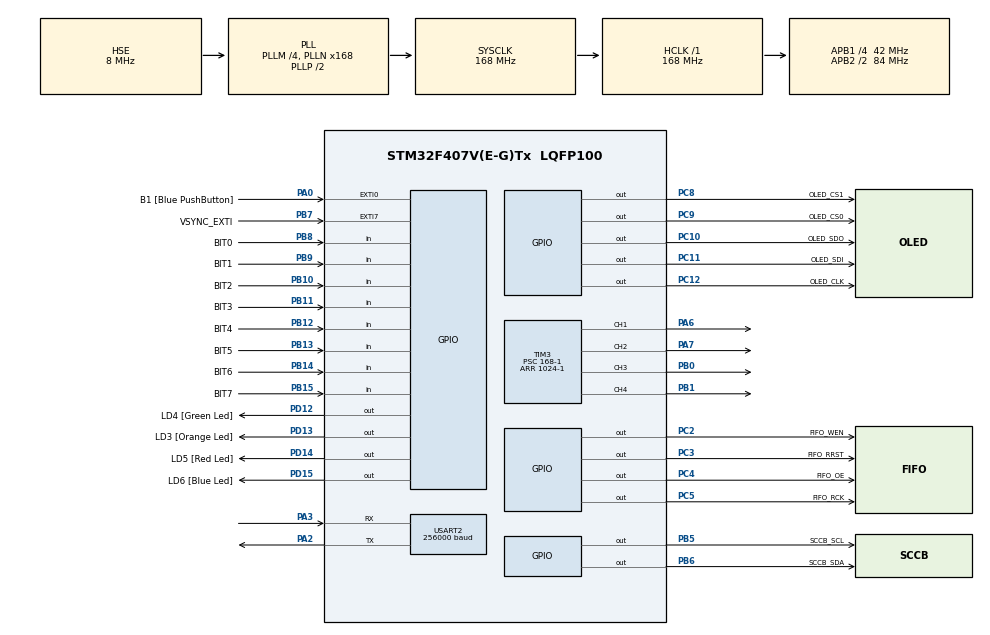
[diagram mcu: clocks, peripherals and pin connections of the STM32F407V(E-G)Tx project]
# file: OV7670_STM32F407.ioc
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Mcu.Family=STM32F4
Mcu.Name=STM32F407V(E-G)Tx
Mcu.Package=LQFP100
NVIC.EXTI0_IRQn=true\:0\:0\:false\:false\:true\:true\:true
NVIC.EXTI9_5_IRQn=true\:0\:1\:true\:false\:true\:true\:true
NVIC.PriorityGroup=NVIC_PRIORITYGROUP_0
PA0-WKUP.GPIO_Label=B1 [Blue PushButton]
PA0-WKUP.GPIO_ModeDefaultEXTI=GPIO_MODE_IT_FALLING
PA0-WKUP.GPIO_PuPd=GPIO_NOPULL
PA0-WKUP.Signal=GPXTI0
PA13.Mode=Serial_Wire
PA13.Signal=SYS_JTMS-SWDIO
PA14.Mode=Serial_Wire
PA14.Signal=SYS_JTCK-SWCLK
PA2.Mode=Asynchronous
PA2.Signal=USART2_TX
PA3.Mode=Asynchronous
PA3.Signal=USART2_RX
PA6.Signal=S_TIM3_CH1
PA7.Signal=S_TIM3_CH2
PB0.Signal=S_TIM3_CH3
PB1.Signal=S_TIM3_CH4
PB10.GPIO_Label=BIT2
PB10.Signal=GPIO_Input
PB11.GPIO_Label=BIT3
PB11.Signal=GPIO_Input
PB12.GPIO_Label=BIT4
PB12.Signal=GPIO_Input
PB13.GPIO_Label=BIT5
PB13.Signal=GPIO_Input
PB14.GPIO_Label=BIT6
PB14.Signal=GPIO_Input
PB15.GPIO_Label=BIT7
PB15.Signal=GPIO_Input
PB5.GPIO_Label=SCCB_SCL
PB5.GPIO_ModeDefaultOutputPP=GPIO_MODE_OUTPUT_OD
PB5.GPIO_PuPd=GPIO_PULLUP
PB5.PinState=GPIO_PIN_SET
PB5.Signal=GPIO_Output
PB6.GPIO_Label=SCCB_SDA
PB6.GPIO_ModeDefaultOutputPP=GPIO_MODE_OUTPUT_OD
PB6.GPIO_PuPd=GPIO_PULLUP
PB6.PinState=GPIO_PIN_SET
PB6.Signal=GPIO_Output
PB7.GPIO_Label=VSYNC_EXTI
PB7.GPIO_ModeDefaultEXTI=GPIO_MODE_IT_FALLING
PB7.Signal=GPXTI7
PB8.GPIO_Label=BIT0
PB8.Signal=GPIO_Input
PB9.GPIO_Label=BIT1
PB9.Signal=GPIO_Input
PC10.GPIO_Label=OLED_SDO
PC10.Signal=GPIO_Output
PC11.GPIO_Label=OLED_SDI
PC11.Signal=GPIO_Output
PC12.GPIO_Label=OLED_CLK
PC12.Signal=GPIO_Output
PC14-OSC32_IN.GPIO_Label=PC14-OSC32_IN
PC14-OSC32_IN.Mode=LSE-External-Oscillator
PC14-OSC32_IN.Signal=RCC_OSC32_IN
PC15-OSC32_OUT.GPIO_Label=PC15-OSC32_OUT
PC15-OSC32_OUT.Mode=LSE-External-Oscillator
PC15-OSC32_OUT.Signal=RCC_OSC32_OUT
PC2.GPIO_Label=FIFO_WEN
PC2.GPIO_Speed=GPIO_SPEED_FREQ_HIGH
PC2.Signal=GPIO_Output
PC3.GPIO_Label=FIFO_RRST
PC3.GPIO_Speed=GPIO_SPEED_FREQ_HIGH
PC3.Signal=GPIO_Output
PC4.GPIO_Label=FIFO_OE
PC4.GPIO_Speed=GPIO_SPEED_FREQ_HIGH
PC4.Signal=GPIO_Output
PC5.GPIO_Label=FIFO_RCK
PC5.GPIO_Speed=GPIO_SPEED_FREQ_HIGH
PC5.Signal=GPIO_Output
PC8.GPIO_Label=OLED_CS1
PC8.Signal=GPIO_Output
PC9.GPIO_Label=OLED_CS0
PC9.Signal=GPIO_Output
PD12.GPIO_Label=LD4 [Green Led]
PD12.GPIO_PuPd=GPIO_NOPULL
PD12.GPIO_Speed=GPIO_SPEED_FREQ_LOW
PD12.Signal=GPIO_Output
PD13.GPIO_Label=LD3 [Orange Led]
PD13.GPIO_PuPd=GPIO_NOPULL
PD13.GPIO_Speed=GPIO_SPEED_FREQ_LOW
PD13.Signal=GPIO_Output
PD14.GPIO_Label=LD5 [Red Led]
PD14.GPIO_PuPd=GPIO_NOPULL
PD14.GPIO_Speed=GPIO_SPEED_FREQ_LOW
PD14.Signal=GPIO_Output
PD15.GPIO_Label=LD6 [Blue Led]
PD15.GPIO_PuPd=GPIO_NOPULL
PD15.GPIO_Speed=GPIO_SPEED_FREQ_LOW
PD15.Signal=GPIO_Output
PH0-OSC_IN.GPIO_Label=PH0-OSC_IN
PH0-OSC_IN.Mode=HSE-External-Oscillator
PH0-OSC_IN.Signal=RCC_OSC_IN
PH1-OSC_OUT.GPIO_Label=PH1-OSC_OUT
PH1-OSC_OUT.Mode=HSE-External-Oscillator
PH1-OSC_OUT.Signal=RCC_OSC_OUT
ProjectManager.HeapSize=0x200
ProjectManager.StackSize=0x400
ProjectManager.TargetToolchain=TrueSTUDIO
RCC.48MHZClocksFreq_Value=48000000
RCC.AHBFreq_Value=168000000
RCC.APB1CLKDivider=RCC_HCLK_DIV4
RCC.APB1Freq_Value=42000000
RCC.APB1TimFreq_Value=84000000
RCC.APB2CLKDivider=RCC_HCLK_DIV2
RCC.APB2Freq_Value=84000000
RCC.APB2TimFreq_Value=168000000
RCC.CortexFreq_Value=168000000
RCC.HCLKFreq_Value=168000000
RCC.HSE_VALUE=8000000
RCC.HSI_VALUE=16000000
RCC.PLLM=4
RCC.PLLN=168
RCC.PLLQ=7
RCC.PLLSourceVirtual=RCC_PLLSOURCE_HSE
RCC.SYSCLKFreq_VALUE=168000000
RCC.SYSCLKSource=RCC_SYSCLKSOURCE_PLLCLK
RCC.VCOOutputFreq_Value=336000000
SH.S_TIM3_CH1.0=TIM3_CH1,PWM Generation1 CH1
SH.S_TIM3_CH2.0=TIM3_CH2,PWM Generation2 CH2
SH.S_TIM3_CH3.0=TIM3_CH3,PWM Generation3 CH3
SH.S_TIM3_CH4.0=TIM3_CH4,PWM Generation4 CH4
TIM3.Channel-PWM\ Generation1\ CH1=TIM_CHANNEL_1
TIM3.Channel-PWM\ Generation2\ CH2=TIM_CHANNEL_2
TIM3.Channel-PWM\ Generation3\ CH3=TIM_CHANNEL_3
TIM3.Channel-PWM\ Generation4\ CH4=TIM_CHANNEL_4
TIM3.Period=1024-1
TIM3.Prescaler=168-1
USART2.BaudRate=256000
USART2.VirtualMode=VM_ASYNC
VP_TIM3_VS_ClockSourceINT.Mode=Internal
board=STM32F407G-DISC1

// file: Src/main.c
/* USER CODE BEGIN Header */
/**
 ******************************************************************************
 * @file           : main.c
 * @brief          : Main program body
 ******************************************************************************
 * @attention
 *
 * <h2><center>&copy; Copyright (c) 2019 STMicroelectronics.
 * All rights reserved.</center></h2>
 *
 * This software component is licensed by ST under Ultimate Liberty license
 * SLA0044, the "License"; You may not use this file except in compliance with
 * the License. You may obtain a copy of the License at:
 *                             www.st.com/SLA0044
 *
 ******************************************************************************
 */
/* USER CODE END Header */

#include "main.h"
#include "tim.h"
#include "usart.h"
#include "gpio.h"

/* USER CODE BEGIN Includes */
#include "sensor.h"
#include "delay.h"
#include "print.h"
#include "oled.h"
#include "ips.h"
#include "pid.h"
#include <stdio.h>
#include <string.h>
/* USER CODE END Includes */

/* USER CODE BEGIN PD */
#ifdef QVGA
#define H  240
#define W  320
#elif defined QQVGA
#define H  120
#define W  160
#elif defined CIF
#define H  288
#define W  352
#elif defined QCIF
#define H  144
#define W  176
#endif

//#define SERIAL_PRINT
#define OLED_PRINT

/* USER CODE END PD */

/* USER CODE BEGIN PV */
unsigned char Vsync;
unsigned char send_flag = 0;

//extern
unsigned char image_ori[IMAGE_SIZE][IMAGE_SIZE] = {0};
unsigned char image_bin[IMAGE_SIZE][IMAGE_SIZE] = {0};
unsigned char line_flag_list[IMAGE_SIZE];
unsigned char line_pos_list[IMAGE_SIZE];
unsigned char graph_value[8] = {0};

char str[] = "0x0000";
unsigned char hex_display[] = "00, ";
/* USER CODE END PV */

void SystemClock_Config(void);
/* USER CODE BEGIN PFP */

void OV7670_SendFrameFullSize(void)
{
  unsigned int a, b, c_data;

  for (a = 0; a < H; a++)
  { // rows
    for (b = 0; b < W; b++)
    { // columns
      FIFO_RCK_L();
      asm("NOP");
      asm("NOP");
      c_data = GPIOB->IDR & 0xff00;  // read high-8 bits
      FIFO_RCK_H();
      asm("NOP");
      asm("NOP");
      FIFO_RCK_L();
      asm("NOP");
      asm("NOP");
      c_data |= (GPIOB->IDR >> 8) & 0x00ff;  // read low-8 bits
      FIFO_RCK_H();
      // LCD_WriteRAM(c_data);  // write RGB565 data to TFT GRAM
      sprintf(str, "%x,", c_data);
      HAL_UART_Transmit(&huart2, (uint8_t *) str, strlen(str), 10);
    }
    HAL_GPIO_TogglePin(LD6_GPIO_Port, LD6_Pin);
  }
  print_str("\n", 0);
}

void OV7670_SendFrameSliced_QQVGA_28_28()
{
  unsigned int a, b, c_data;

  for (a = 0; a < H; a++)
  {  // rows
    for (b = 0; b < W; b++)
    {  // columns
      FIFO_RCK_L();
      asm("NOP");
      asm("NOP");
      c_data = GPIOB->IDR & 0xff00;        // read high-8 bits
      FIFO_RCK_H();
      asm("NOP");
      asm("NOP");
      FIFO_RCK_L();
      asm("NOP");
      asm("NOP");
      c_data |= (GPIOB->IDR >> 8) & 0x00ff;  // read low-8 bits
      FIFO_RCK_H();
//      LCD_WriteRAM(c_data);         // write RGB565 data to TFT GRAM
//      if((a<output_h)&&(b<output_w))
      if ((a >= 4) && (a <= 112) && ((a - 4) % 4 == 0) && (b >= 34)
          && (b <= 142) && ((b - 34) % 4 == 0))
      {  // select 28*28 pixels
        sprintf(str, "%x,", c_data);
        HAL_UART_Transmit(&huart2, (uint8_t *) str, strlen(str), 10);
      }
    }
    HAL_GPIO_TogglePin(LD6_GPIO_Port, LD6_Pin);
  }
  print_str("\n", 0);
}

void OV7670_StoreFrameSliced_QQVGA_28_28(uint8_t binarize)
{
  unsigned int a, b, c_data;
  unsigned int i = 0, j = 0;

  for (a = 0; a < H; a++)
  {  // rows
    for (b = 0; b < W; b++)
    {  // columns
      FIFO_RCK_L();
      asm("NOP");
      asm("NOP");
      c_data = GPIOB->IDR & 0xff00;        // read high-8 bits
      FIFO_RCK_H();
      asm("NOP");
      asm("NOP");
      FIFO_RCK_L();
      asm("NOP");
      asm("NOP");
      FIFO_RCK_H();
      if ((a >= 4) && (a <= 112) && ((a - 4) % 4 == 0) && (b >= 34)
          && (b <= 142) && ((b - 34) % 4 == 0))
      {  // select 28*28 pixels
        c_data = (c_data >> 8) & 0x00ff;

        if (binarize)
        {
          if (c_data > THRESHOLD)
          {
            image_bin[i][j] = 1;
          }
          else
          {
            image_bin[i][j] = 0;
          }
          image_ori[i][j] = 0;  // Not used
        }
        image_ori[i][j] = c_data;
        j++;
        if (j == IMAGE_SIZE)
        {
          j = 0;
          i++;
        }
      }
    }
    HAL_GPIO_TogglePin(LD6_GPIO_Port, LD6_Pin);
  }
}

// calc_offset[-1, 1]
float calc_offset(unsigned char *line_flag_list, unsigned char *line_pos_list)
{
  unsigned int i;
  int width = IMAGE_SIZE / 2;
  float tmp;
  for (i = 0; i < IMAGE_SIZE; i++)
  {  // row
    if (line_flag_list[i])
    {
      width = IMAGE_SIZE / 2 - line_pos_list[i];
      break;
    }
  }
  tmp = width / (IMAGE_SIZE / 2.0);

  return tmp;
}

// calc_direction[-1, 1]
float calc_direction(unsigned char *line_flag_list,
    unsigned char *line_pos_list)
{
  unsigned int i;
  int height = IMAGE_SIZE / 2, width = IMAGE_SIZE / 2;
  float tmp, angle;
  for (i = 0; i < IMAGE_SIZE; i++)
  {  // row
    if (line_flag_list[i])
    {
      height = IMAGE_SIZE - i;
      width = IMAGE_SIZE / 2 - line_pos_list[i];
      break;
    }
  }
  tmp = width / (height * 1.0);
  /*
   * arctan x = x - x^3/3 + x^5/5 -鈥︹��(x鈮�1)
   * */
  angle = tmp - tmp * tmp * tmp / 3 + tmp * tmp * tmp * tmp * tmp / 5; // Tylor of arctan()

  return 2.0 * angle / 3.141592653;
}

void control_motor(int base_pwm, int diff_pwm)
{
  int left  = 0;
  int right = 0;

  left  = base_pwm - diff_pwm;
#ifdef SERIAL_PRINT
  print_str("left:", 1);
  print_int(left, 1);
#endif
#ifdef OLED_PRINT
  OLED_DispStr(0, 2, (uint8_t*) "left pwm:", FONT_8X6);
  sprintf(str, "%d", left);
  OLED_DispStr(0, 3, (uint8_t*) str, FONT_8X6);
#endif
  if(left >= 0)
  {
    if(left > 512)
    {left = 512;}
    __HAL_TIM_SET_COMPARE(&htim3, TIM_CHANNEL_1, left);
    __HAL_TIM_SET_COMPARE(&htim3, TIM_CHANNEL_2, 0);
  }
  else
  {
    if(left < -512)
    {left = -512;}
    __HAL_TIM_SET_COMPARE(&htim3, TIM_CHANNEL_1, 0);
    __HAL_TIM_SET_COMPARE(&htim3, TIM_CHANNEL_2, -left);
  }

  right = base_pwm + diff_pwm;
#ifdef SERIAL_PRINT
  print_str("right:", 1);
  print_int(right, 1);
#endif
#ifdef OLED_PRINT
  OLED_DispStr(0, 4, (uint8_t*) "right pwm:", FONT_8X6);
  sprintf(str, "%d", right);
  OLED_DispStr(0, 5, (uint8_t*) str, FONT_8X6);
#endif

  if(right >= 0)
  {
    if(right > 512)
    {right = 512;}
    __HAL_TIM_SET_COMPARE(&htim3, TIM_CHANNEL_3, right);
    __HAL_TIM_SET_COMPARE(&htim3, TIM_CHANNEL_4, 0);
  }
  else
  {
    if(right < -512)
    {right = -512;}
    __HAL_TIM_SET_COMPARE(&htim3, TIM_CHANNEL_3, 0);
    __HAL_TIM_SET_COMPARE(&htim3, TIM_CHANNEL_4, -right);
  }
}
/* USER CODE END PFP */

int main(void)
{
  /* USER CODE BEGIN 1 */
//  unsigned int time_out = 0;
#ifdef SERIAL_PRINT
  unsigned char bmp[IMAGE_SIZE] = {0x01};
#endif
  float offset=0, direction=0.0;
  float control_value = 0.0;
  int base_pwm = 0;
  int diff_pwm = 0;

//  unsigned int pwm_value=0;
  /* USER CODE END 1 */

  /* MCU Configuration--------------------------------------------------------*/

  /* Reset of all peripherals, Initializes the Flash interface and the Systick. */
  HAL_Init();

  /* Configure the system clock */
  SystemClock_Config();

  /* Initialize all configured peripherals */
  MX_GPIO_Init();
  MX_USART2_UART_Init();
  MX_TIM3_Init();
  /* USER CODE BEGIN 2 */
  HAL_TIM_PWM_Start(&htim3, TIM_CHANNEL_1);
  HAL_TIM_PWM_Start(&htim3, TIM_CHANNEL_2);
  HAL_TIM_PWM_Start(&htim3, TIM_CHANNEL_3);
  HAL_TIM_PWM_Start(&htim3, TIM_CHANNEL_4);
  OLED_Init();

  print_str("ov7670 init...", 1);

  FIFO_OE_L();
  FIFO_WEN_H();

  send_flag = 0;

  while (1 != Sensor_init())
  {
  }  // Init CMOS Sensor
  print_str("ov7670 init OK!", 1);

  Vsync = 0;
  ////////////////////////////////////////
  FIFO_RRST_L();
  FIFO_RCK_L();
  FIFO_RCK_H();
  FIFO_RCK_L();
  FIFO_RRST_H();
  FIFO_RCK_H();
  Delay(50);
  ////////////////////////////////////////
  PID_init();
  print_str("init PID", 1);
  /* USER CODE END 2 */

  /* Infinite loop */
  while (1)
  {

    /* USER CODE BEGIN 3 */
    OLED_Clear();

    if (send_flag == 1)
    {
#ifdef DEBUG
      OV7670_SendOneFrame_ColorBar();
#else
//      Vsync = 0;
//      while (2 != Vsync)
//      {
//        HAL_Delay(100);
//        time_out++;
//        if (time_out > 10)
//        {
//          print_str("Vsync time out", 1);
//          return 0;
//        }
//      }
//      time_out = 0;
      if (Vsync == 2)
      {
        FIFO_RRST_L();
        FIFO_RCK_L();
        FIFO_RCK_H();
        FIFO_RCK_L();
        FIFO_RRST_H();
        FIFO_RCK_H();

//        OV7670_SendFrameFullSize();
//        OV7670_SendFrameSliced_QQVGA_28_28();
        OV7670_StoreFrameSliced_QQVGA_28_28(1);
        Vsync = 0;
        /**/
//        binary_simple(image_ori, image_bin);
        show_image_bin(image_bin);
        find_center_line(image_bin, line_flag_list, line_pos_list);

        print_str("print line flag:", 1);
        print_list(line_flag_list);

        print_str("print line pos:", 1);
        print_list(line_pos_list);

        offset = calc_offset(line_flag_list, line_pos_list);
        direction = calc_direction(line_flag_list, line_pos_list);

#ifdef SERIAL_PRINT
        // show map
        generate_dis_data(line_pos_list, bmp);
        OLED_DrawBMP(0, 1, 28, 2, bmp);
        // print row offset@1st & direction
        print_str("row offset: ", 0);
        print_float(offset, 1);
        print_str("direction: ", 0);
        print_float(direction, 1);
#endif
      /**/
      }
#endif
//      send_flag = 0;
    }
    if(direction > 3)
    {direction = 3;}
    if(direction < -3)
    {direction = -3;}

#ifdef OLED_PRINT
    OLED_DispStr(0, 0, (uint8_t*) "direction:", FONT_8X6);
    sprintf(str, "%f", direction);
    OLED_DispStr(0, 1, (uint8_t*) str, FONT_8X6);
#endif

//    pid.CurrentValue = direction;
////    control_value = PID_realize(0.0);
//    control_value = P_realize(0.0);
//    print_str("control_value:", 1);
//    print_float(control_value, 1);

    base_pwm = 256;
//    diff_pwm = (int)(control_value * 512);
    diff_pwm = (int)(300 * direction);

//    print_str("base_pwm:", 1);
//    print_int(base_pwm, 1);
//    print_str("diff_pwm:", 1);
//    print_int(diff_pwm, 1);
//
    control_motor(base_pwm, diff_pwm);

//    __HAL_TIM_SET_COMPARE(&htim3, TIM_CHANNEL_3, 0);
//    __HAL_TIM_SET_COMPARE(&htim3, TIM_CHANNEL_4, 0);

    HAL_GPIO_TogglePin(LD3_GPIO_Port, LD3_Pin);
    HAL_Delay(10);
  }
  /* USER CODE END 3 */
}

void SystemClock_Config(void)
{
  RCC_OscInitTypeDef RCC_OscInitStruct = {0};
  RCC_ClkInitTypeDef RCC_ClkInitStruct = {0};

  /** Configure the main internal regulator output voltage
  */
  __HAL_RCC_PWR_CLK_ENABLE();
  __HAL_PWR_VOLTAGESCALING_CONFIG(PWR_REGULATOR_VOLTAGE_SCALE1);
  /** Initializes the CPU, AHB and APB busses clocks
  */
  RCC_OscInitStruct.OscillatorType = RCC_OSCILLATORTYPE_HSE;
  RCC_OscInitStruct.HSEState = RCC_HSE_ON;
  RCC_OscInitStruct.PLL.PLLState = RCC_PLL_ON;
  RCC_OscInitStruct.PLL.PLLSource = RCC_PLLSOURCE_HSE;
  RCC_OscInitStruct.PLL.PLLM = 4;
  RCC_OscInitStruct.PLL.PLLN = 168;
  RCC_OscInitStruct.PLL.PLLP = RCC_PLLP_DIV2;
  RCC_OscInitStruct.PLL.PLLQ = 7;
  if (HAL_RCC_OscConfig(&RCC_OscInitStruct) != HAL_OK)
  {
    Error_Handler();
  }
  /** Initializes the CPU, AHB and APB busses clocks
  */
  RCC_ClkInitStruct.ClockType = RCC_CLOCKTYPE_HCLK|RCC_CLOCKTYPE_SYSCLK
                              |RCC_CLOCKTYPE_PCLK1|RCC_CLOCKTYPE_PCLK2;
  RCC_ClkInitStruct.SYSCLKSource = RCC_SYSCLKSOURCE_PLLCLK;
  RCC_ClkInitStruct.AHBCLKDivider = RCC_SYSCLK_DIV1;
  RCC_ClkInitStruct.APB1CLKDivider = RCC_HCLK_DIV4;
  RCC_ClkInitStruct.APB2CLKDivider = RCC_HCLK_DIV2;

  if (HAL_RCC_ClockConfig(&RCC_ClkInitStruct, FLASH_LATENCY_5) != HAL_OK)
  {
    Error_Handler();
  }
}

/* USER CODE BEGIN 4 */
void HAL_GPIO_EXTI_Callback(uint16_t GPIO_Pin)
{
  switch (GPIO_Pin)
  {
  /*VSYNC EXTI line: 7*/
  case VSYNC_EXTI_Pin:
    if (Vsync == 0)
    {
      Vsync = 1;
      FIFO_WEN_H();
    }
    else if (Vsync == 1)
    {
      FIFO_WEN_L();
      Vsync = 2;
      HAL_GPIO_TogglePin(LD4_GPIO_Port, LD4_Pin);
    }
    break;

    /*KEY1 EXTI line: 0*/
  case B1_Pin:
//		HAL_Delay(10);  // Error
    HAL_GPIO_TogglePin(LD5_GPIO_Port, LD5_Pin);
    if (HAL_GPIO_ReadPin(B1_GPIO_Port, B1_Pin) == 0)
    {  // if KEY1 is still PRESSED DOWN
      send_flag = 1;
    }
    break;

  default:
    break;
  }
}
/* USER CODE END 4 */

void Error_Handler(void)
{
}

/************************ (C) COPYRIGHT STMicroelectronics *****END OF FILE****/
